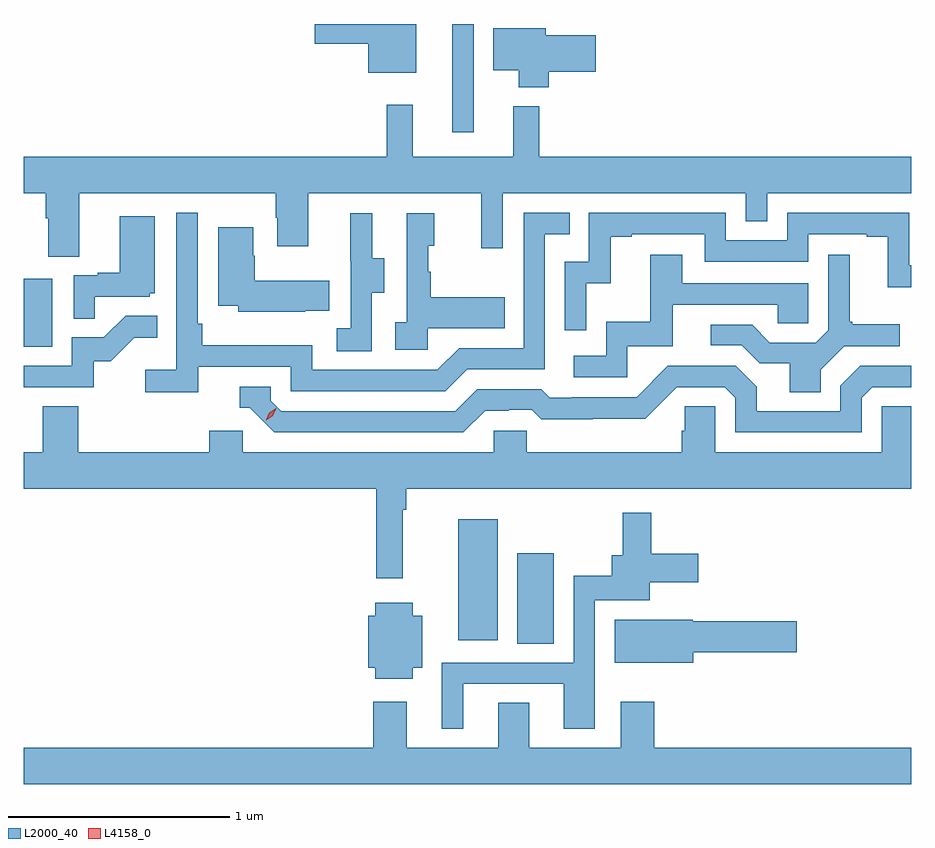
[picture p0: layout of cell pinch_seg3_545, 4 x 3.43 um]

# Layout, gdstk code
import gdstk
lib = gdstk.Library(unit=1e-6, precision=1e-09)
def R(c, l, rs):  # rectangles x0, y0, x1, y1
    for r in rs: c.add(gdstk.rectangle(r[:2], r[2:], *l))
def P(c, l, *ps):  # polygons
    for p in ps: c.add(gdstk.Polygon(p, *l))
L2000_40 = (2000, 40)
L4158_0 = (4158, 0)

pinch_seg3_545 = lib.new_cell('pinch_seg3_545')
R(pinch_seg3_545, L2000_40, [(1126.844,692.224,1127.008,692.632), (1126.577,692.24,1126.756,692.785), (1124.619,693.564,1124.746,693.871), (1126.55,694.53,1126.647,695.019)])
P(pinch_seg3_545, L2000_40, [(1126.387,695.019),(1125.93,695.019),(1125.93,694.931),(1126.172,694.931),(1126.172,694.799),(1126.387,694.799)],
  [(1126.985,694.804),(1127.197,694.804),(1127.197,694.969),(1126.972,694.969),(1126.972,694.999),(1126.736,694.999),(1126.736,694.811),(1126.85,694.811),(1126.85,694.733),(1126.985,694.733)],
  [(1124.869,694.256),(1125.754,694.256),(1125.754,694.145),(1125.761,694.145),(1125.761,694.017),(1125.901,694.017),(1125.901,694.256),(1126.682,694.256),(1126.682,694.008),(1126.779,694.008),(1126.779,694.256),(1127.874,694.256),(1127.874,694.129),(1127.97,694.129),(1127.97,694.256),(1128.619,694.256),(1128.619,694.42),(1126.943,694.42),(1126.943,694.648),(1126.826,694.648),(1126.826,694.42),(1126.373,694.42),(1126.373,694.654),(1126.255,694.654),(1126.255,694.42),(1124.619,694.42),(1124.619,694.256),(1124.717,694.256),(1124.717,694.144),(1124.729,694.144),(1124.729,693.97),(1124.869,693.97)],
  [(1125.404,693.474),(1125.822,693.474),(1125.822,693.363),(1126.519,693.363),(1126.618,693.462),(1126.968,693.462),(1126.968,694.071),(1127.081,694.071),(1127.081,694.167),(1126.872,694.167),(1126.872,693.558),(1126.581,693.558),(1126.482,693.459),(1125.918,693.459),(1125.918,693.571),(1125.422,693.571),(1125.422,693.667),(1125.402,693.667),(1125.402,694.168),(1125.306,694.168),(1125.306,693.46),(1125.165,693.46),(1125.165,693.358),(1125.404,693.358)],
  [(1127.154,693.851),(1127.264,693.851),(1127.264,694.059),(1127.359,694.059),(1127.359,694.071),(1127.688,694.071),(1127.688,693.948),(1128.156,693.948),(1128.156,694.071),(1128.419,694.071),(1128.419,694.059),(1128.515,694.059),(1128.515,693.833),(1128.619,693.833),(1128.619,693.931),(1128.612,693.931),(1128.612,694.167),(1128.06,694.167),(1128.06,694.044),(1127.784,694.044),(1127.784,694.167),(1127.166,694.167),(1127.166,693.948),(1127.058,693.948),(1127.058,693.639),(1127.154,693.639)],
  [(1126.44,693.647),(1126.787,693.647),(1126.787,693.787),(1126.453,693.787),(1126.453,693.902),(1126.443,693.902),(1126.443,694.02),(1126.468,694.02),(1126.468,694.165),(1126.344,694.165),(1126.344,693.674),(1126.293,693.674),(1126.293,693.549),(1126.44,693.549)],
  [(1126.188,693.808),(1126.243,693.808),(1126.243,693.963),(1126.189,693.963),(1126.189,694.165),(1126.091,694.165),(1126.091,693.951),(1126.092,693.951),(1126.092,693.647),(1126.029,693.647),(1126.029,693.544),(1126.188,693.544)],
  [(1124.939,693.789),(1125.186,693.789),(1125.186,693.804),(1125.208,693.804),(1125.208,694.153),(1125.05,694.153),(1125.05,693.898),(1124.951,693.898),(1124.951,693.885),(1124.844,693.885),(1124.844,693.691),(1124.939,693.691)],
  [(1125.887,693.725),(1125.995,693.725),(1125.995,693.862),(1125.66,693.862),(1125.66,693.974),(1125.652,693.974),(1125.652,694.102),(1125.494,694.102),(1125.494,693.749),(1125.585,693.749),(1125.585,693.722),(1125.887,693.722)],
  [(1127.34,693.567),(1127.545,693.567),(1127.545,693.753),(1128.019,693.753),(1128.019,693.669),(1128.156,693.669),(1128.156,693.849),(1127.587,693.849),(1127.587,693.979),(1127.443,693.979),(1127.443,693.676),(1127.244,693.676),(1127.244,693.522),(1127.097,693.522),(1127.097,693.426),(1127.34,693.426)],
  [(1128.211,693.46),(1128.318,693.567),(1128.568,693.567),(1128.568,693.664),(1128.355,693.664),(1128.355,693.676),(1128.343,693.676),(1128.343,693.979),(1128.246,693.979),(1128.246,693.639),(1128.189,693.582),(1127.983,693.582),(1127.902,693.663),(1127.715,693.663),(1127.715,693.57),(1127.856,693.57),(1127.936,693.49),(1128.071,693.49),(1128.071,693.358),(1128.211,693.358)],
  [(1124.934,693.498),(1125.01,693.498),(1125.117,693.605),(1125.221,693.605),(1125.221,693.704),(1125.077,693.704),(1124.979,693.606),(1124.835,693.606),(1124.835,693.477),(1124.619,693.477),(1124.619,693.381),(1124.934,693.381)],
  [(1126.699,693.276),(1126.806,693.276),(1126.806,693.279),(1126.909,693.279),(1126.951,693.237),(1127.184,693.237),(1127.184,693.239),(1127.42,693.239),(1127.562,693.381),(1127.778,693.381),(1127.826,693.333),(1127.826,693.177),(1128.396,693.177),(1128.396,693.333),(1128.444,693.381),(1128.619,693.381),(1128.619,693.479),(1128.606,693.479),(1128.606,693.477),(1128.39,693.477),(1128.3,693.387),(1128.3,693.273),(1127.923,693.273),(1127.923,693.383),(1127.829,693.477),(1127.523,693.477),(1127.382,693.336),(1127.089,693.336),(1127.089,693.333),(1126.99,693.333),(1126.951,693.372),(1126.662,693.372),(1126.563,693.273),(1125.78,693.273),(1125.732,693.321),(1125.732,693.384),(1125.593,693.384),(1125.593,693.288),(1125.636,693.288),(1125.747,693.177),(1126.6,693.177)],
  [(1126.326,692.828),(1126.343,692.828),(1126.343,692.924),(1128.619,692.924),(1128.619,693.296),(1128.486,693.296),(1128.486,693.088),(1127.736,693.088),(1127.736,693.296),(1127.599,693.296),(1127.599,693.186),(1127.585,693.186),(1127.585,693.088),(1126.887,693.088),(1126.887,693.186),(1126.737,693.186),(1126.737,693.088),(1125.606,693.088),(1125.606,693.186),(1125.455,693.186),(1125.455,693.088),(1124.864,693.088),(1124.864,693.296),(1124.704,693.296),(1124.704,693.088),(1124.619,693.088),(1124.619,692.924),(1126.207,692.924),(1126.207,692.52),(1126.326,692.52)],
  [(1126.6,692.043),(1127.054,692.043),(1127.054,691.842),(1127.193,691.842),(1127.193,692.421),(1127.441,692.421),(1127.441,692.501),(1127.659,692.501),(1127.659,692.631),(1127.447,692.631),(1127.447,692.815),(1127.319,692.815),(1127.319,692.623),(1127.27,692.623),(1127.27,692.53),(1127.097,692.53),(1127.097,692.139),(1126.502,692.139),(1126.502,691.842),(1126.6,691.842)],
  [(1126.372,692.117),(1126.414,692.117),(1126.414,692.35),(1126.372,692.35),(1126.372,692.41),(1126.202,692.41),(1126.202,692.35),(1126.172,692.35),(1126.172,692.117),(1126.202,692.117),(1126.202,692.066),(1126.372,692.066)],
  [(1127.638,692.185),(1128.103,692.185),(1128.103,692.327),(1127.634,692.327),(1127.634,692.332),(1127.282,692.332),(1127.282,692.138),(1127.638,692.138)],
  [(1128.619,691.756),(1127.462,691.756),(1127.462,691.963),(1127.309,691.963),(1127.309,691.756),(1126.897,691.756),(1126.897,691.958),(1126.757,691.958),(1126.757,691.756),(1126.345,691.756),(1126.345,691.963),(1126.193,691.963),(1126.193,691.756),(1124.619,691.756),(1124.619,691.592),(1128.619,691.592)])
P(pinch_seg3_545, L4158_0, [(1125.711,693.233),(1125.711,693.234),(1125.726,693.266),(1125.756,693.287),(1125.756,693.287),(1125.756,693.286),(1125.741,693.253),(1125.711,693.233)])

lib.write_gds('pinch_seg3_545.gds')
